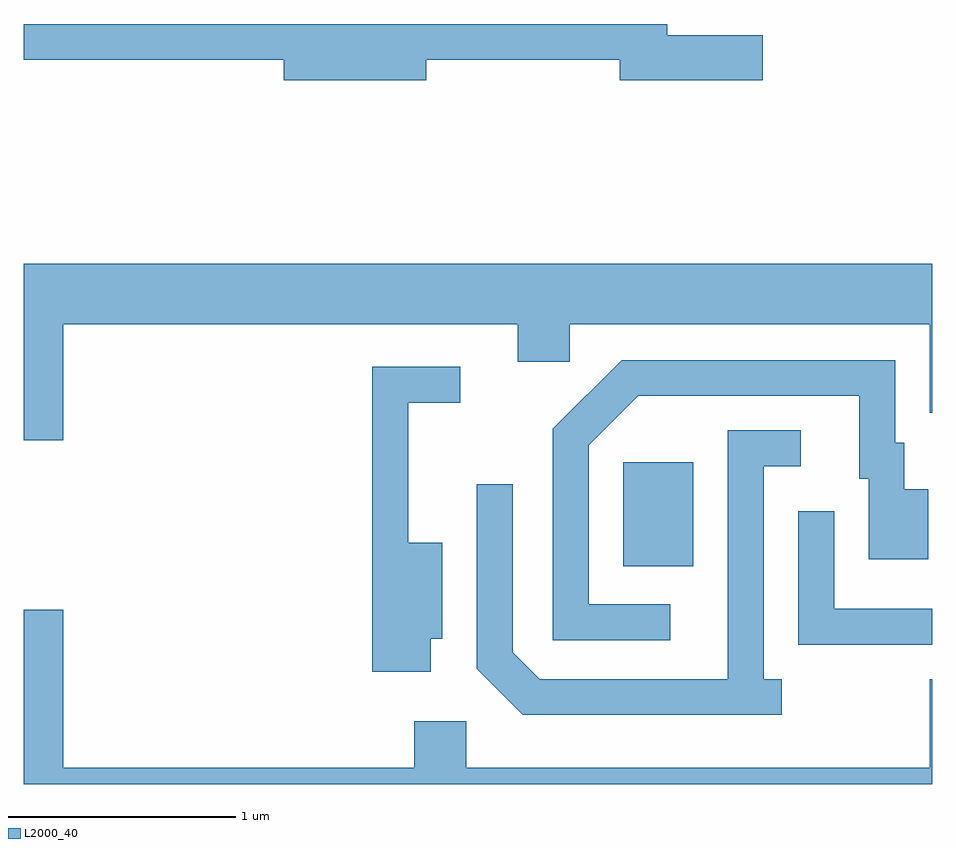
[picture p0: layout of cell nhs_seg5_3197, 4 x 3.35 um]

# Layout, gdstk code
import gdstk
lib = gdstk.Library(unit=1e-6, precision=1e-09)
def R(c, l, rs):  # rectangles x0, y0, x1, y1
    for r in rs: c.add(gdstk.rectangle(r[:2], r[2:], *l))
def P(c, l, *ps):  # polygons
    for p in ps: c.add(gdstk.Polygon(p, *l))
L2000_40 = (2000, 40)

nhs_seg5_3197 = lib.new_cell('nhs_seg5_3197')
R(nhs_seg5_3197, L2000_40, [(282.251,1489.031,282.559,1489.489)])
P(nhs_seg5_3197, L2000_40, [(281.384,1491.261),(282.236,1491.261),(282.236,1491.171),(282.864,1491.171),(282.864,1491.369),(282.444,1491.369),(282.444,1491.419),(279.611,1491.419),(279.611,1491.261),(280.756,1491.261),(280.756,1491.171),(281.384,1491.171)],
  [(279.784,1490.096),(281.786,1490.096),(281.786,1489.931),(282.014,1489.931),(282.014,1490.096),(283.601,1490.096),(283.601,1489.706),(283.611,1489.706),(283.611,1490.364),(279.611,1490.364),(279.611,1489.586),(279.784,1489.586)],
  [(282.458,1488.864),(282.099,1488.864),(282.099,1489.564),(282.317,1489.781),(283.291,1489.781),(283.291,1489.416),(283.331,1489.416),(283.331,1489.061),(283.594,1489.061),(283.594,1489.369),(283.489,1489.369),(283.489,1489.574),(283.449,1489.574),(283.449,1489.939),(282.244,1489.939),(281.941,1489.637),(281.941,1488.706),(282.458,1488.706)],
  [(281.404,1488.711),(281.454,1488.711),(281.454,1489.134),(281.304,1489.134),(281.304,1489.751),(281.533,1489.751),(281.533,1489.909),(281.146,1489.909),(281.146,1488.566),(281.404,1488.566)],
  [(282.948,1488.534),(282.869,1488.534),(282.869,1489.471),(283.033,1489.471),(283.033,1489.629),(282.711,1489.629),(282.711,1488.534),(281.882,1488.534),(281.764,1488.652),(281.764,1489.393),(281.606,1489.393),(281.606,1488.579),(281.809,1488.376),(282.948,1488.376)],
  [(283.611,1488.844),(283.179,1488.844),(283.179,1489.273),(283.021,1489.273),(283.021,1488.686),(283.611,1488.686)],
  [(283.611,1488.534),(283.601,1488.534),(283.601,1488.144),(281.559,1488.144),(281.559,1488.349),(281.331,1488.349),(281.331,1488.144),(279.784,1488.144),(279.784,1488.839),(279.611,1488.839),(279.611,1488.072),(283.611,1488.072)])

lib.write_gds('nhs_seg5_3197.gds')
